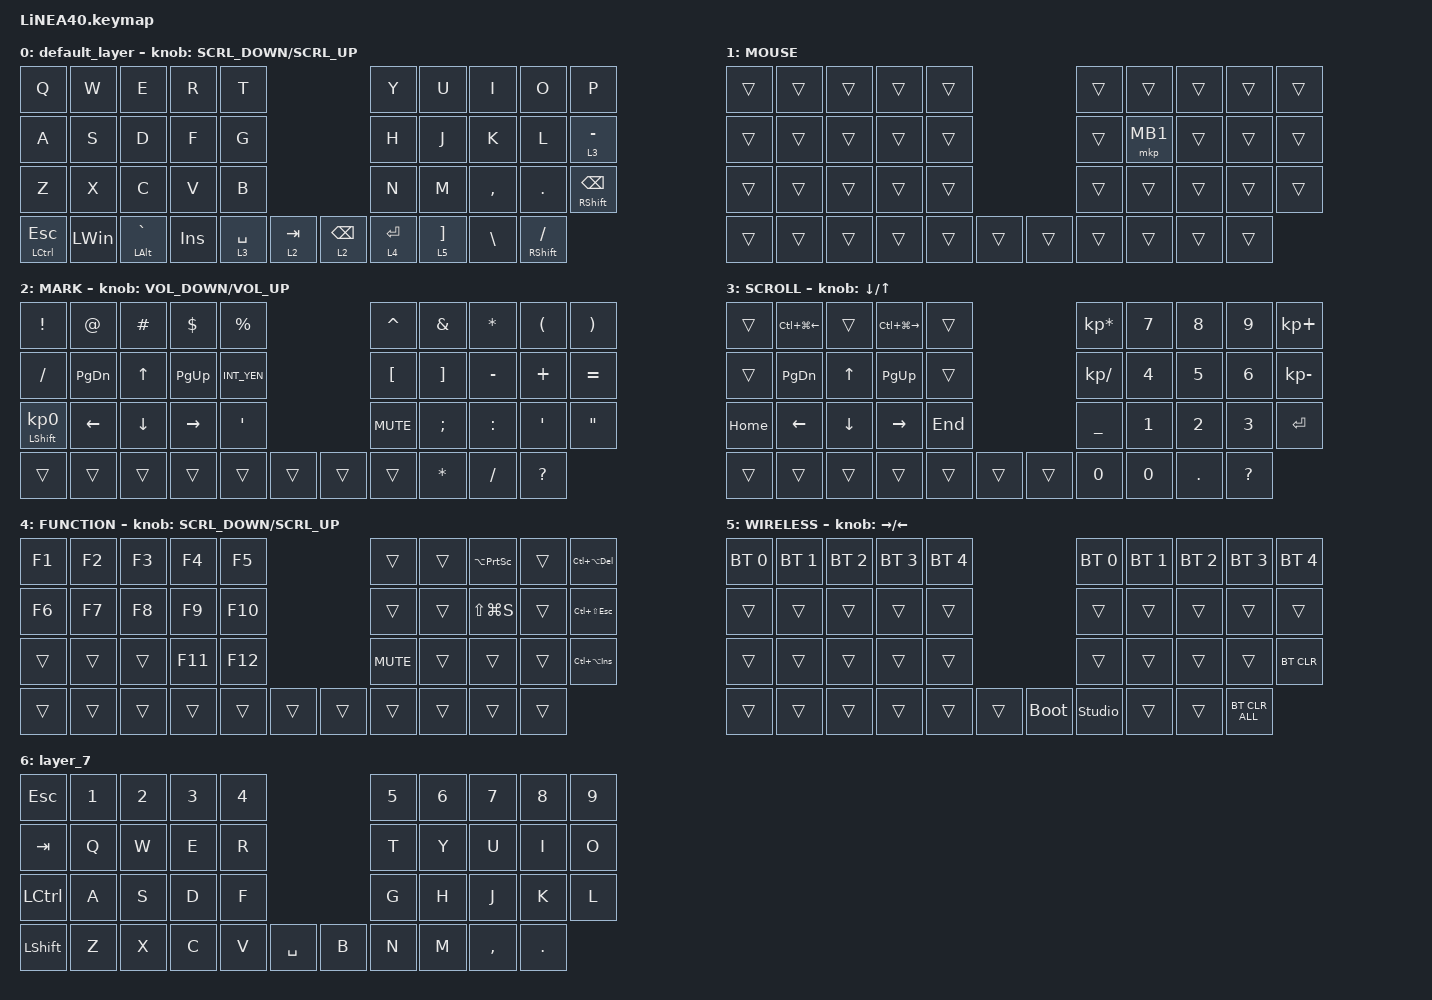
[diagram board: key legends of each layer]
#define ZMK_POINTING_DEFAULT_SCRL_VAL 150

#include <dt-bindings/zmk/input_transform.h>
#include <input/processors.dtsi>
#include <zephyr/dt-bindings/input/input-event-codes.h>
#include <behaviors.dtsi>
#include <dt-bindings/zmk/bt.h>
#include <dt-bindings/zmk/keys.h>
#include <dt-bindings/zmk/pointing.h>

#define MOUSE 1
#define MARK 2
#define CURSOR 3
#define FUNCTION 4
#define SCROLL 5
#define WIRELESS 6

//mouse cursol

&mmv {
    delay-ms = <20>;
    trigger-period-ms = <5>;
    time-to-max-speed-ms = <100>;
    acceleration-exponent = <2>;
};

//mouse scroll

&msc {
    delay-ms = <3>;
    trigger-period-ms = <3>;
    time-to-max-speed-ms = <100>;
    acceleration-exponent = <0>;
};

/ {
    input_processors {
        zip_wheel_scaler: zip_wheel_scaler {
            compatible = "zmk,input-processor-scaler";
            #input-processor-cells = <2>;
            type = <INPUT_EV_REL>;
            codes = <INPUT_REL_WHEEL>;
            track-remainders;
        };
    };
};

&msc_input_listener {
    speed_up {
        layers = <FUNCTION>;
        input-processors = <&zip_wheel_scaler 3 1>; //スクロールを3倍速にする
    };
};

&trackball_listener {
    scroller {
        layers = <SCROLL>;
        input-processors =
            <&zip_xy_transform INPUT_TRANSFORM_Y_INVERT>,
            //スクロール方向を逆転,,,,,,,
            <&zip_xy_to_scroll_mapper>;
    };
};

/ {
    combos {
        compatible = "zmk,combos";

        ZenkakuHankaku {
            bindings = <&kp GRAVE>;
            key-positions = <11 12>;
        };

        DeleteKey {
            bindings = <&kp DEL>;
            key-positions = <7 8>;
        };

        InsertKey {
            bindings = <&kp INS>;
            key-positions = <6 7>;
        };

        CenterClick {
            bindings = <&mkp MB3>;
            key-positions = <17 16>;
        };

        RightClick {
            bindings = <&mkp MB2>;
            key-positions = <18 17>;
        };

        PrevClick {
            bindings = <&mkp MB4>;
            key-positions = <27 28>;
        };

        ClickNext {
            bindings = <&mkp MB5>;
            key-positions = <26 27>;
        };

        GameLayer {
            bindings = <&tog 6>;
            key-positions = <8 9>;
        };

        Delete {
            bindings = <&kp DEL>;
            key-positions = <40 29>;
        };
    };

    behaviors {
        re_kp: sensor_rotate_kp {
            compatible = "zmk,behavior-sensor-rotate-var";
            #sensor-binding-cells = <2>;
            bindings = <&kp>, <&kp>;
        };

        mouse_scrl: mouse_wheel_scrl {
            compatible = "zmk,behavior-sensor-rotate-var";
            #sensor-binding-cells = <2>;
            bindings = <&msc>, <&msc>;

            tap-ms = <20>;
        };
    };

    keymap {
        compatible = "zmk,keymap";

        default_layer {
            bindings = <
&kp Q          &kp W         &kp E               &kp R    &kp T                                      &kp Y        &kp U  &kp I                &kp O          &kp P
&kp A          &kp S         &kp D               &kp F    &kp G                                      &kp H        &kp J  &kp K                &kp L          &lt 3 MINUS
&kp Z          &kp X         &kp C               &kp V    &kp B                                      &kp N        &kp M  &kp COMMA            &kp DOT        &mt RIGHT_SHIFT BACKSPACE
&mt LCTRL ESC  &kp LEFT_WIN  &mt LEFT_ALT GRAVE  &kp INS  &lt 3 SPACE  &lt 2 TAB    &lt 2 BACKSPACE  &lt 4 ENTER         &lt 5 RIGHT_BRACKET  &kp BACKSLASH  &mt RIGHT_SHIFT SLASH
            >;

            sensor-bindings = <&mouse_scrl SCRL_DOWN SCRL_UP>;
        };

        MOUSE {
            bindings = <
&trans  &trans  &trans  &trans  &trans                    &trans  &trans    &trans  &trans  &trans
&trans  &trans  &trans  &trans  &trans                    &trans  &mkp MB1  &trans  &trans  &trans
&trans  &trans  &trans  &trans  &trans                    &trans  &trans    &trans  &trans  &trans
&trans  &trans  &trans  &trans  &trans  &trans    &trans  &trans            &trans  &trans  &trans
            >;
        };

        MARK {
            bindings = <
&kp EXCLAMATION             &kp AT          &kp HASH        &kp DOLLAR       &kp PERCENT                    &kp CARET         &kp AMPERSAND      &kp ASTERISK  &kp LEFT_PARENTHESIS  &kp RIGHT_PARENTHESIS
&kp SLASH                   &kp PG_DN       &kp UP_ARROW    &kp PG_UP        &kp INT_YEN                    &kp LEFT_BRACKET  &kp RIGHT_BRACKET  &kp MINUS     &kp PLUS              &kp EQUAL
&mt LEFT_SHIFT KP_NUMBER_0  &kp LEFT_ARROW  &kp DOWN_ARROW  &kp RIGHT_ARROW  &kp SQT                        &kp C_MUTE        &kp SEMI           &kp COLON     &kp SINGLE_QUOTE      &kp DOUBLE_QUOTES
&trans                      &trans          &trans          &trans           &trans       &trans    &trans  &trans                               &kp ASTERISK  &kp SLASH             &kp QUESTION
            >;

            sensor-bindings = <&re_kp C_VOLUME_DOWN C_VOLUME_UP>;
        };

        SCROLL {
            bindings = <
&trans    &kp LC(LG(LEFT_ARROW))  &trans          &kp LC(LG(RIGHT_ARROW))  &trans                     &kp KP_MULTIPLY  &kp NUMBER_7  &kp NUMBER_8  &kp NUMBER_9  &kp KP_PLUS
&trans    &kp PG_DN               &kp UP_ARROW    &kp PG_UP                &trans                     &kp KP_SLASH     &kp NUMBER_4  &kp NUMBER_5  &kp NUMBER_6  &kp KP_MINUS
&kp HOME  &kp LEFT_ARROW          &kp DOWN_ARROW  &kp RIGHT_ARROW          &kp END                    &kp UNDER        &kp NUMBER_1  &kp NUMBER_2  &kp NUMBER_3  &kp ENTER
&trans    &trans                  &trans          &trans                   &trans   &trans    &trans  &kp NUMBER_0                   &kp NUMBER_0  &kp DOT       &kp QUESTION
            >;

            sensor-bindings = <&inc_dec_kp DOWN_ARROW UP_ARROW>;
        };

        FUNCTION {
            bindings = <
&kp F1  &kp F2  &kp F3  &kp F4   &kp F5                     &trans      &trans  &kp LA(PRINTSCREEN)  &trans  &kp LC(LA(DELETE))
&kp F6  &kp F7  &kp F8  &kp F9   &kp F10                    &trans      &trans  &kp LS(LG(S))        &trans  &kp LC(LS(ESCAPE))
&trans  &trans  &trans  &kp F11  &kp F12                    &kp C_MUTE  &trans  &trans               &trans  &kp LC(LA(INS))
&trans  &trans  &trans  &trans   &trans   &trans    &trans  &trans              &trans               &trans  &trans
            >;

            sensor-bindings = <&mouse_scrl SCRL_DOWN SCRL_UP>;
        };

        WIRELESS {
            bindings = <
&bt BT_SEL 0  &bt BT_SEL 1  &bt BT_SEL 2  &bt BT_SEL 3  &bt BT_SEL 4                         &bt BT_SEL 0    &bt BT_SEL 1  &bt BT_SEL 2  &bt BT_SEL 3  &bt BT_SEL 4
&trans        &trans        &trans        &trans        &trans                               &trans          &trans        &trans        &trans        &trans
&trans        &trans        &trans        &trans        &trans                               &trans          &trans        &trans        &trans        &bt BT_CLR
&trans        &trans        &trans        &trans        &trans        &trans    &bootloader  &studio_unlock                &trans        &trans        &bt BT_CLR_ALL
            >;

            sensor-bindings = <&inc_dec_kp RIGHT_ARROW LEFT_ARROW>;
        };

        layer_7 {
            bindings = <
&kp ESC    &kp N1  &kp N2  &kp N3  &kp N4                      &kp N5  &kp N6  &kp N7  &kp N8     &kp N9
&kp TAB    &kp Q   &kp W   &kp E   &kp R                       &kp T   &kp Y   &kp U   &kp I      &kp O
&kp LCTRL  &kp A   &kp S   &kp D   &kp F                       &kp G   &kp H   &kp J   &kp K      &kp L
&kp LSHFT  &kp Z   &kp X   &kp C   &kp V   &kp SPACE    &kp B  &kp N           &kp M   &kp COMMA  &kp DOT
            >;
        };
    };
};
